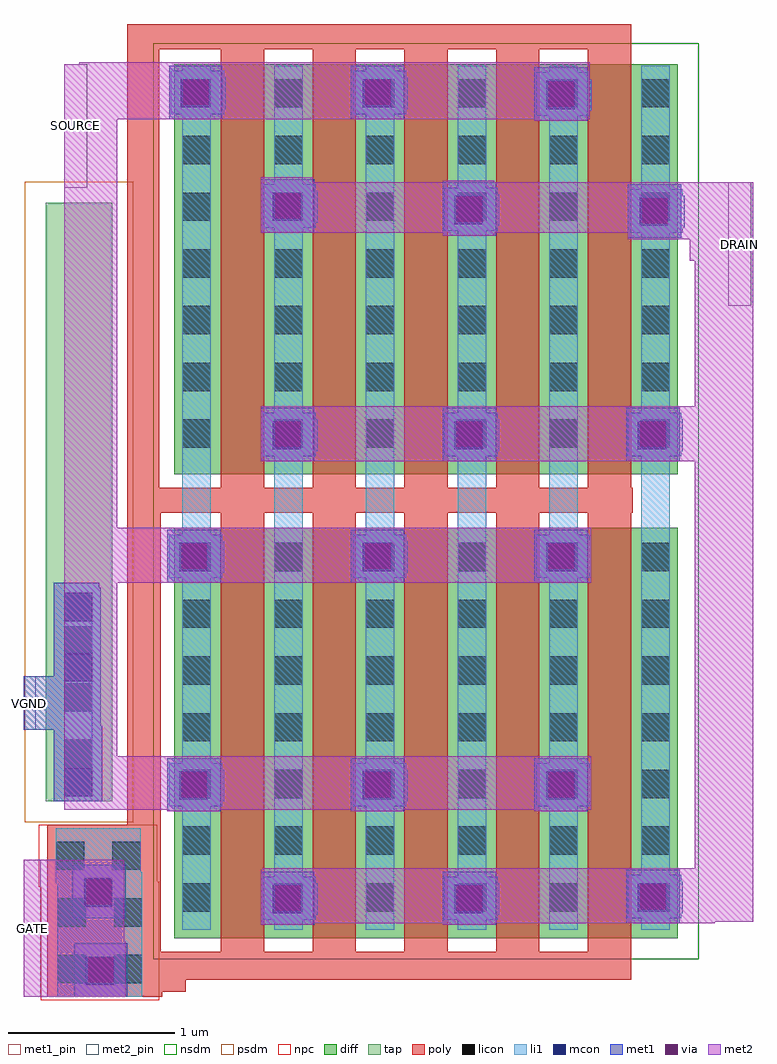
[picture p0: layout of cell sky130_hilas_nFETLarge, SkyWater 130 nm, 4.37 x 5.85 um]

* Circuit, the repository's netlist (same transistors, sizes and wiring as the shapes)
* Copyright 2020 The Hilas PDK Authors
* 
* This file is part of HILAS.
* 
* HILAS is free software: you can redistribute it and/or modify
* it under the terms of the GNU Lesser General Public License as published by
* the Free Software Foundation, version 3 of the License.
* 
* HILAS is distributed in the hope that it will be useful,
* but WITHOUT ANY WARRANTY; without even the implied warranty of
* MERCHANTABILITY or FITNESS FOR A PARTICULAR PURPOSE.  See the
* GNU Lesser General Public License for more details.
* 
* You should have received a copy of the GNU Lesser General Public License
* along with HILAS.  If not, see <https://www.gnu.org/licenses/>.
* 
* Licensed under the Lesser General Public License, Version 3.0 (the "License");
* you may not use this file except in compliance with the License.
* You may obtain a copy of the License at
* 
* https://www.gnu.org/licenses/lgpl-3.0.en.html
* 
* Unless required by applicable law or agreed to in writing, software
* distributed under the License is distributed on an "AS IS" BASIS,
* WITHOUT WARRANTIES OR CONDITIONS OF ANY KIND, either express or implied.
* See the License for the specific language governing permissions and
* limitations under the License.
* 
* SPDX-License-Identifier: LGPL-3.0
* 
* 

* NGSPICE file created from sky130_hilas_nFETLarge.ext - technology: sky130A

.subckt sky130_hilas_nFETmed a_32_n88# SUB a_84_n62# a_n24_n62#
X0 a_84_n62# a_32_n88# a_n24_n62# SUB sky130_fd_pr__nfet_01v8 w=2.46e+06u l=260000u
.ends

.subckt sky130_hilas_nFETLargePart1 sky130_hilas_nFETmed_0/a_84_n62# sky130_hilas_nFETmed_4/a_84_n62#
+ sky130_hilas_nFETmed_2/a_32_n88# SUB sky130_hilas_nFETmed_3/a_84_n62# sky130_hilas_nFETmed_1/a_32_n88#
+ sky130_hilas_nFETmed_4/a_n24_n62# sky130_hilas_nFETmed_2/a_84_n62# sky130_hilas_nFETmed_0/a_32_n88#
+ sky130_hilas_nFETmed_4/a_32_n88# sky130_hilas_nFETmed_1/a_84_n62# sky130_hilas_nFETmed_3/a_32_n88#
Xsky130_hilas_nFETmed_0 sky130_hilas_nFETmed_0/a_32_n88# SUB sky130_hilas_nFETmed_0/a_84_n62#
+ sky130_hilas_nFETmed_4/a_84_n62# sky130_hilas_nFETmed
Xsky130_hilas_nFETmed_1 sky130_hilas_nFETmed_1/a_32_n88# SUB sky130_hilas_nFETmed_1/a_84_n62#
+ sky130_hilas_nFETmed_0/a_84_n62# sky130_hilas_nFETmed
Xsky130_hilas_nFETmed_2 sky130_hilas_nFETmed_2/a_32_n88# SUB sky130_hilas_nFETmed_2/a_84_n62#
+ sky130_hilas_nFETmed_1/a_84_n62# sky130_hilas_nFETmed
Xsky130_hilas_nFETmed_3 sky130_hilas_nFETmed_3/a_32_n88# SUB sky130_hilas_nFETmed_3/a_84_n62#
+ sky130_hilas_nFETmed_2/a_84_n62# sky130_hilas_nFETmed
Xsky130_hilas_nFETmed_4 sky130_hilas_nFETmed_4/a_32_n88# SUB sky130_hilas_nFETmed_4/a_84_n62#
+ sky130_hilas_nFETmed_4/a_n24_n62# sky130_hilas_nFETmed
.ends

.subckt sky130_hilas_nFETLarge GATE SOURCE DRAIN
Xsky130_hilas_nFETLargePart1_0 SOURCE DRAIN GATE SUB DRAIN GATE SOURCE SOURCE GATE
+ GATE DRAIN GATE sky130_hilas_nFETLargePart1
Xsky130_hilas_nFETLargePart1_1 SOURCE DRAIN GATE SUB DRAIN GATE SOURCE SOURCE GATE
+ GATE DRAIN GATE sky130_hilas_nFETLargePart1
.ends

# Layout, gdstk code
import gdstk
lib = gdstk.Library(unit=1e-6, precision=1e-09)
def R(c, l, rs):  # rectangles x0, y0, x1, y1
    for r in rs: c.add(gdstk.rectangle(r[:2], r[2:], *l))
def A(c, l, x, y, w, h, nx, ny, dx, dy):  # array of equal rectangles
    R(c, l, [(x+i*dx, y+j*dy, x+i*dx+w, y+j*dy+h) for i in range(nx) for j in range(ny)])
diff = (65, 20)
tap = (65, 44)
poly = (66, 20)
licon = (66, 44)
li1 = (67, 20)
mcon = (67, 44)
met1_pin = (68, 16)
met1 = (68, 20)
via = (68, 44)
met2_pin = (69, 16)
met2 = (69, 20)
nsdm = (93, 44)
psdm = (94, 20)
npc = (95, 20)

sky130_hilas_li2m2 = lib.new_cell('sky130_hilas_li2m2')
R(sky130_hilas_li2m2, li1, [(-0.13,-0.12,0.19,-0.09), (-0.13,-0.09,0.2,0.1), (-0.13,0.1,0.19,0.14)])
R(sky130_hilas_li2m2, mcon, [(-0.07,-0.08,0.1,0.09)])
R(sky130_hilas_li2m2, met1, [(-0.14,-0.15,0.18,0.17)])
R(sky130_hilas_li2m2, via, [(-0.055,-0.065,0.095,0.085)])
R(sky130_hilas_li2m2, met2, [(-0.14,-0.15,0.17,0.18)])

sky130_hilas_nfetmed = lib.new_cell('sky130_hilas_nFETmed')
R(sky130_hilas_nfetmed, diff, [(-0.12,-0.31,0.7,2.15)])
R(sky130_hilas_nfetmed, poly, [(0.16,-0.44,0.42,2.28)])
A(sky130_hilas_nfetmed, licon, -0.07, -0.15, 0.17, 0.17, 1, 7, 0, 0.34)
A(sky130_hilas_nfetmed, licon, 0.48, -0.15, 0.17, 0.17, 1, 7, 0, 0.34)
R(sky130_hilas_nfetmed, li1, [(-0.07,-0.26,0.1,2.14), (0.48,-0.26,0.65,2.14)])
R(sky130_hilas_nfetmed, nsdm, [(-0.245,-0.435,0.825,2.275)])

sky130_hilas_nfetlargepa = lib.new_cell('sky130_hilas_nFETLargePart1')
sky130_hilas_nfetlargepa.add(gdstk.Reference(sky130_hilas_nfetmed, (0.12,0.13)))
sky130_hilas_nfetlargepa.add(gdstk.Reference(sky130_hilas_nfetmed, (-0.43,0.13)))
sky130_hilas_nfetlargepa.add(gdstk.Reference(sky130_hilas_nfetmed, (-0.98,0.13)))
sky130_hilas_nfetlargepa.add(gdstk.Reference(sky130_hilas_nfetmed, (-1.53,0.13)))
sky130_hilas_nfetlargepa.add(gdstk.Reference(sky130_hilas_nfetmed, (0.67,0.13)))

sky130_hilas_nfetlarge = lib.new_cell('sky130_hilas_nFETLarge')
R(sky130_hilas_nfetlarge, tap, [(0.77,5.37,1.17,8.96)])
R(sky130_hilas_nfetlarge, poly, [(0.78,4.2,1.47,4.23), (0.78,4.23,1.61,4.3), (0.78,4.3,4.28,4.47), (0.78,4.47,1.46,5.23), (1.26,5.23,1.46,7.1), (1.26,7.1,4.29,7.25), (1.26,7.25,1.45,9.88), (1.26,9.88,4.28,10.03)])
A(sky130_hilas_nfetlarge, licon, 0.88, 5.57, 0.17, 0.17, 1, 3, 0, 0.34)
R(sky130_hilas_nfetlarge, licon, [(0.84,4.28,1.01,4.45), (1.18,4.28,1.35,4.45), (0.84,4.62,1.01,4.79), (1.18,4.62,1.35,4.79), (0.83,4.96,1,5.13), (1.17,4.96,1.34,5.13)])
A(sky130_hilas_nfetlarge, li1, 1.59, 7, 0.17, 0.38, 6, 1, 0.55, 0)
R(sky130_hilas_nfetlarge, li1, [(0.84,4.2,1.35,4.88), (0.83,4.88,1.35,4.95), (0.83,4.95,1.34,5.21), (0.88,5.4,1.05,6.62)])
R(sky130_hilas_nfetlarge, mcon, [(0.88,5.4,1.05,5.57), (0.88,6.09,1.05,6.26), (0.88,6.45,1.05,6.62)])
R(sky130_hilas_nfetlarge, met1_pin, [(0.64,5.8,0.71,6.12)])
R(sky130_hilas_nfetlarge, met1, [(0.82,5.37,1.11,5.8), (0.64,5.8,1.11,5.82), (0.64,5.82,1.1,6.12), (0.82,6.12,1.1,6.65), (0.82,6.65,1.09,6.68)])
R(sky130_hilas_nfetlarge, met2_pin, [(0.64,4.2,0.74,5.02), (4.86,8.34,5,9.08), (0.88,9.05,1.02,9.79)])
R(sky130_hilas_nfetlarge, met2, [(0.64,4.2,1.24,5.02), (2.07,4.64,4.78,4.65), (2.07,4.65,5.01,4.97), (4.66,4.97,5.01,7.41), (0.88,5.32,4.04,5.64), (0.88,5.64,1.2,6.68), (0.88,6.68,4.04,7.01), (0.88,7.01,1.2,9.46), (2.06,7.41,5.01,7.74), (4.66,7.74,5.01,8.61), (4.63,8.61,5.01,8.74), (4.26,8.74,5.01,8.78), (2.07,8.78,5.01,9.08), (0.88,9.46,4.03,9.79), (0.97,9.79,4.03,9.8)])
R(sky130_hilas_nfetlarge, nsdm, [(1.415,7.135,4.685,7.205)])
R(sky130_hilas_nfetlarge, psdm, [(0.645,5.245,1.295,9.085)])
R(sky130_hilas_nfetlarge, npc, [(0.74,4.18,1.45,4.86), (0.73,4.86,1.45,4.89), (0.73,4.89,1.44,5.23)])
sky130_hilas_nfetlarge.add(gdstk.Reference(sky130_hilas_li2m2, (2.74,5.46)))
sky130_hilas_nfetlarge.add(gdstk.Reference(sky130_hilas_li2m2, (3.84,5.46)))
sky130_hilas_nfetlarge.add(gdstk.Reference(sky130_hilas_li2m2, (2.2,4.78)))
sky130_hilas_nfetlarge.add(gdstk.Reference(sky130_hilas_li2m2, (3.29,4.78)))
sky130_hilas_nfetlarge.add(gdstk.Reference(sky130_hilas_li2m2, (4.39,4.79)))
sky130_hilas_nfetlarge.add(gdstk.Reference(sky130_hilas_li2m2, (1.64,5.46)))
sky130_hilas_nfetlarge.add(gdstk.Reference(sky130_hilas_li2m2, (1.08,4.35)))
sky130_hilas_nfetlarge.add(gdstk.Reference(sky130_hilas_li2m2, (1.07,4.82)))
sky130_hilas_nfetlarge.add(gdstk.Reference(sky130_hilas_li2m2, (2.74,6.83)))
sky130_hilas_nfetlarge.add(gdstk.Reference(sky130_hilas_li2m2, (3.84,6.83)))
sky130_hilas_nfetlarge.add(gdstk.Reference(sky130_hilas_li2m2, (1.64,6.83)))
sky130_hilas_nfetlarge.add(gdstk.Reference(sky130_hilas_nfetlargepa, (3.19,4.73)))
sky130_hilas_nfetlarge.add(gdstk.Reference(sky130_hilas_li2m2, (3.29,7.56)))
sky130_hilas_nfetlarge.add(gdstk.Reference(sky130_hilas_li2m2, (2.2,7.56)))
sky130_hilas_nfetlarge.add(gdstk.Reference(sky130_hilas_li2m2, (4.39,7.56)))
sky130_hilas_nfetlarge.add(gdstk.Reference(sky130_hilas_li2m2, (2.74,9.61)))
sky130_hilas_nfetlarge.add(gdstk.Reference(sky130_hilas_li2m2, (3.84,9.6)))
sky130_hilas_nfetlarge.add(gdstk.Reference(sky130_hilas_li2m2, (1.65,9.61)))
sky130_hilas_nfetlarge.add(gdstk.Reference(sky130_hilas_li2m2, (2.2,8.93)))
sky130_hilas_nfetlarge.add(gdstk.Reference(sky130_hilas_li2m2, (3.29,8.91)))
sky130_hilas_nfetlarge.add(gdstk.Reference(sky130_hilas_li2m2, (4.4,8.9)))
sky130_hilas_nfetlarge.add(gdstk.Reference(sky130_hilas_nfetlargepa, (3.19,7.51)))
sky130_hilas_nfetlarge.add(gdstk.Label('GATE', (0.69,4.61), layer=69, texttype=16))
sky130_hilas_nfetlarge.add(gdstk.Label('SOURCE', (0.95,9.42), layer=69, texttype=16))
sky130_hilas_nfetlarge.add(gdstk.Label('DRAIN', (4.93,8.71), layer=69, texttype=16))
sky130_hilas_nfetlarge.add(gdstk.Label('VGND', (0.675,5.96), layer=68, texttype=16))

lib.write_gds('sky130_hilas_nFETLarge.gds')
